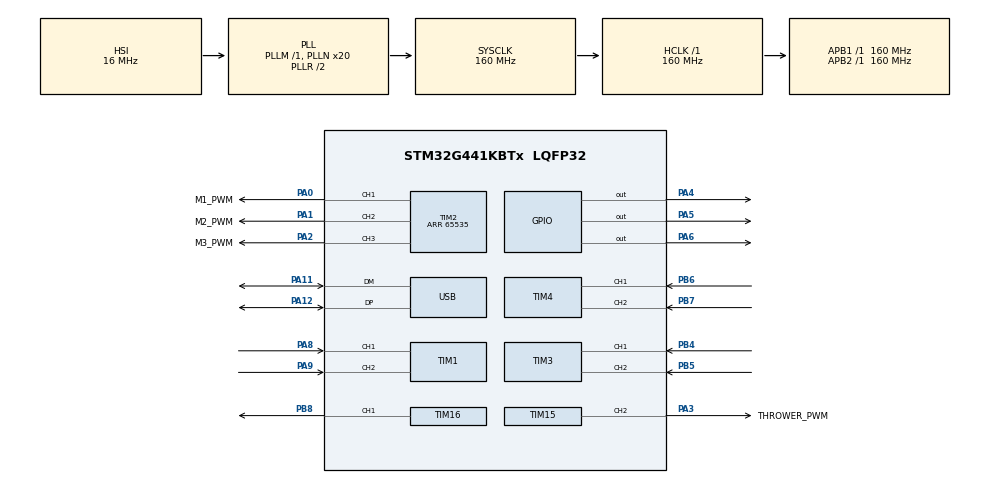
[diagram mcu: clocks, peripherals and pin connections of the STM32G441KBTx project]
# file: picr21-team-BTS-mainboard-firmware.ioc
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Mcu.Family=STM32G4
USB_DEVICE.CLASS_NAME_FS=CDC
RCC.CortexFreq_Value=160000000
TIM4.EncoderMode=TIM_ENCODERMODE_TI12
PA0.GPIO_Label=M1_PWM
TIM3.EncoderMode=TIM_ENCODERMODE_TI12
TIM1.EncoderMode=TIM_ENCODERMODE_TI12
PA11.Mode=Device
TIM2.Channel-PWM\ Generation2\ CH2=TIM_CHANNEL_2
RCC.SYSCLKSource=RCC_SYSCLKSOURCE_PLLCLK
ProjectManager.StackSize=0x400
SH.S_TIM15_CH2.0=TIM15_CH2,PWM Generation2 CH2
PA12.Signal=USB_DP
RCC.HCLKFreq_Value=160000000
RCC.APB2TimFreq_Value=160000000
PB6.Signal=S_TIM4_CH1
RCC.AHBFreq_Value=160000000
RCC.HSE_VALUE=8000000
RCC.ADC12Freq_Value=160000000
TIM2.PeriodNoDither=65535
TIM15.Channel-PWM\ Generation2\ CH2=TIM_CHANNEL_2
PA14.Mode=Serial_Wire
VP_SYS_VS_DBSignals.Mode=DisableDeadBatterySignals
SH.S_TIM4_CH2.0=TIM4_CH2,Encoder_Interface
PB7.Signal=S_TIM4_CH2
PA8.Signal=S_TIM1_CH1
TIM2.Channel-PWM\ Generation1\ CH1=TIM_CHANNEL_1
SH.S_TIM3_CH1.0=TIM3_CH1,Encoder_Interface
PA0.Signal=S_TIM2_CH1
Mcu.Package=LQFP32
PA6.Signal=GPIO_Output
PA2.GPIO_Label=M3_PWM
NVIC.USB_LP_IRQn=true\:0\:0\:false\:false\:true\:false\:true
SH.S_TIM4_CH1.0=TIM4_CH1,Encoder_Interface
RCC.APB1TimFreq_Value=160000000
RCC.CK48CLockSelection=RCC_USBCLKSOURCE_HSI48
RCC.HSI48_VALUE=48000000
PB4.Signal=S_TIM3_CH1
PA3.Signal=S_TIM15_CH2
SH.S_TIM2_CH1.0=TIM2_CH1,PWM Generation1 CH1
USB_DEVICE.VirtualModeFS=Cdc_FS
RCC.EXTERNAL_CLOCK_VALUE=12288000
SH.S_TIM16_CH1.0=TIM16_CH1,PWM Generation1 CH1
VP_TIM16_VS_ClockSourceINT.Mode=Enable_Timer
TIM16.Channel=TIM_CHANNEL_1
PA13.Signal=SYS_JTMS-SWDIO
SH.S_TIM2_CH2.0=TIM2_CH2,PWM Generation2 CH2
SH.S_TIM1_CH1.0=TIM1_CH1,Encoder_Interface
ProjectManager.TargetToolchain=STM32CubeIDE
VP_USB_DEVICE_VS_USB_DEVICE_CDC_FS.Mode=CDC_FS
PA9.Signal=S_TIM1_CH2
RCC.USBFreq_Value=48000000
RCC.LSE_VALUE=32768
PA1.Signal=S_TIM2_CH2
PA5.Signal=GPIO_Output
SH.S_TIM3_CH2.0=TIM3_CH2,Encoder_Interface
PB8-BOOT0.Signal=S_TIM16_CH1
board=custom
RCC.VCOOutputFreq_Value=320000000
RCC.APB2Freq_Value=160000000
SH.S_TIM1_CH2.0=TIM1_CH2,Encoder_Interface
SH.S_TIM2_CH3.0=TIM2_CH3,PWM Generation3 CH3
PA1.GPIO_Label=M2_PWM
TIM2.Channel-PWM\ Generation3\ CH3=TIM_CHANNEL_3
PA13.Mode=Serial_Wire
Mcu.Name=STM32G441KBTx
PA2.Signal=S_TIM2_CH3
PA4.Signal=GPIO_Output
RCC.SYSCLKFreq_VALUE=160000000
PB5.Signal=S_TIM3_CH2
PA12.Mode=Device
PA11.Signal=USB_DM
PA14.Signal=SYS_JTCK-SWCLK
ProjectManager.HeapSize=0x200
RCC.HSI_VALUE=16000000
NVIC.PriorityGroup=NVIC_PRIORITYGROUP_4
RCC.PLLN=20
RCC.APB1Freq_Value=160000000
USB_DEVICE.VirtualMode=Cdc
PA3.GPIO_Label=THROWER_PWM

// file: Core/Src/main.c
/* USER CODE BEGIN Header */
/**
  ******************************************************************************
  * @file           : main.c
  * @brief          : Main program body
  ******************************************************************************
  * @attention
  *
  * <h2><center>&copy; Copyright (c) 2021 STMicroelectronics.
  * All rights reserved.</center></h2>
  *
  * This software component is licensed by ST under BSD 3-Clause license,
  * the "License"; You may not use this file except in compliance with the
  * License. You may obtain a copy of the License at:
  *                        opensource.org/licenses/BSD-3-Clause
  *
  ******************************************************************************
  */
/* USER CODE END Header */
#include "main.h"
#include "usb_device.h"

/* USER CODE BEGIN Includes */
#include "usbd_cdc_if.h"
/* USER CODE END Includes */

TIM_HandleTypeDef htim1;
TIM_HandleTypeDef htim2;
TIM_HandleTypeDef htim3;
TIM_HandleTypeDef htim4;
TIM_HandleTypeDef htim15;
TIM_HandleTypeDef htim16;

void SystemClock_Config(void);
static void MX_GPIO_Init(void);
static void MX_TIM1_Init(void);
static void MX_TIM2_Init(void);
static void MX_TIM3_Init(void);
static void MX_TIM4_Init(void);
static void MX_TIM15_Init(void);
static void MX_TIM16_Init(void);

/* USER CODE BEGIN 0 */
typedef struct Command { // (1)
  int16_t speed1;
  int16_t speed2;
  int16_t speed3;
  uint16_t throwerSpeed;
  uint16_t delimiter; // (2)
} Command;

typedef struct Feedback { // (3)
  int16_t speed1;
  int16_t speed2;
  int16_t speed3;
  uint16_t delimiter;
} Feedback;

Command command = {.speed1 = 0, .speed2 = 0, .speed3 = 0, .throwerSpeed = 0, .delimiter = 0}; // (4)
volatile uint8_t isCommandReceived = 0; // (5)

void CDC_On_Receive(uint8_t* buffer, uint32_t* length) { // (6)
  if (*length == sizeof(Command)) { // (7)
    memcpy(&command, buffer, sizeof(Command)); // (8)

    if (command.delimiter == 0xAAAA) { // (9)
      isCommandReceived = 1;
    }
  }
}
/* USER CODE END 0 */

int main(void)
{

  /* MCU Configuration--------------------------------------------------------*/

  /* Reset of all peripherals, Initializes the Flash interface and the Systick. */
  HAL_Init();

  /* Configure the system clock */
  SystemClock_Config();

  /* Initialize all configured peripherals */
  MX_GPIO_Init();
  MX_TIM1_Init();
  MX_TIM2_Init();
  MX_TIM3_Init();
  MX_TIM4_Init();
  MX_TIM15_Init();
  MX_USB_Device_Init();
  MX_TIM16_Init();
  /* USER CODE BEGIN 2 */
  Feedback feedback = { // (1)
        .speed1 = 0,
        .speed2 = 0,
        .speed3 = 0,
        .delimiter = 0xAAAA
    };

  /* USER CODE END 2 */

  /* Infinite loop */
  while (1)
  {

    /* USER CODE BEGIN 3 */
	  if (isCommandReceived) { // (2)
	        isCommandReceived = 0;
	        HAL_GPIO_TogglePin(LED_GPIO_Port, LED_Pin); // (3)

	        feedback.speed1 = motor1Control.speed; // (4)
	        feedback.speed2 = motor2Control.speed;
	        feedback.speed3 = motor3Control.speed;

	        CDC_Transmit_FS(&feedback, sizeof(feedback)); // (5)
	      }
	    }
  /* USER CODE END 3 */
}

void SystemClock_Config(void)
{
  RCC_OscInitTypeDef RCC_OscInitStruct = {0};
  RCC_ClkInitTypeDef RCC_ClkInitStruct = {0};
  RCC_PeriphCLKInitTypeDef PeriphClkInit = {0};

  /** Configure the main internal regulator output voltage
  */
  HAL_PWREx_ControlVoltageScaling(PWR_REGULATOR_VOLTAGE_SCALE1_BOOST);
  /** Initializes the RCC Oscillators according to the specified parameters
  * in the RCC_OscInitTypeDef structure.
  */
  RCC_OscInitStruct.OscillatorType = RCC_OSCILLATORTYPE_HSI|RCC_OSCILLATORTYPE_HSI48;
  RCC_OscInitStruct.HSIState = RCC_HSI_ON;
  RCC_OscInitStruct.HSICalibrationValue = RCC_HSICALIBRATION_DEFAULT;
  RCC_OscInitStruct.HSI48State = RCC_HSI48_ON;
  RCC_OscInitStruct.PLL.PLLState = RCC_PLL_ON;
  RCC_OscInitStruct.PLL.PLLSource = RCC_PLLSOURCE_HSI;
  RCC_OscInitStruct.PLL.PLLM = RCC_PLLM_DIV1;
  RCC_OscInitStruct.PLL.PLLN = 20;
  RCC_OscInitStruct.PLL.PLLP = RCC_PLLP_DIV2;
  RCC_OscInitStruct.PLL.PLLQ = RCC_PLLQ_DIV2;
  RCC_OscInitStruct.PLL.PLLR = RCC_PLLR_DIV2;
  if (HAL_RCC_OscConfig(&RCC_OscInitStruct) != HAL_OK)
  {
    Error_Handler();
  }
  /** Initializes the CPU, AHB and APB buses clocks
  */
  RCC_ClkInitStruct.ClockType = RCC_CLOCKTYPE_HCLK|RCC_CLOCKTYPE_SYSCLK
                              |RCC_CLOCKTYPE_PCLK1|RCC_CLOCKTYPE_PCLK2;
  RCC_ClkInitStruct.SYSCLKSource = RCC_SYSCLKSOURCE_PLLCLK;
  RCC_ClkInitStruct.AHBCLKDivider = RCC_SYSCLK_DIV1;
  RCC_ClkInitStruct.APB1CLKDivider = RCC_HCLK_DIV1;
  RCC_ClkInitStruct.APB2CLKDivider = RCC_HCLK_DIV1;

  if (HAL_RCC_ClockConfig(&RCC_ClkInitStruct, FLASH_LATENCY_4) != HAL_OK)
  {
    Error_Handler();
  }
  /** Initializes the peripherals clocks
  */
  PeriphClkInit.PeriphClockSelection = RCC_PERIPHCLK_USB;
  PeriphClkInit.UsbClockSelection = RCC_USBCLKSOURCE_HSI48;
  if (HAL_RCCEx_PeriphCLKConfig(&PeriphClkInit) != HAL_OK)
  {
    Error_Handler();
  }
}

static void MX_TIM1_Init(void)
{

  TIM_Encoder_InitTypeDef sConfig = {0};
  TIM_MasterConfigTypeDef sMasterConfig = {0};

  htim1.Instance = TIM1;
  htim1.Init.Prescaler = 0;
  htim1.Init.CounterMode = TIM_COUNTERMODE_UP;
  htim1.Init.Period = 65535;
  htim1.Init.ClockDivision = TIM_CLOCKDIVISION_DIV1;
  htim1.Init.RepetitionCounter = 0;
  htim1.Init.AutoReloadPreload = TIM_AUTORELOAD_PRELOAD_DISABLE;
  sConfig.EncoderMode = TIM_ENCODERMODE_TI12;
  sConfig.IC1Polarity = TIM_ICPOLARITY_RISING;
  sConfig.IC1Selection = TIM_ICSELECTION_DIRECTTI;
  sConfig.IC1Prescaler = TIM_ICPSC_DIV1;
  sConfig.IC1Filter = 0;
  sConfig.IC2Polarity = TIM_ICPOLARITY_RISING;
  sConfig.IC2Selection = TIM_ICSELECTION_DIRECTTI;
  sConfig.IC2Prescaler = TIM_ICPSC_DIV1;
  sConfig.IC2Filter = 0;
  if (HAL_TIM_Encoder_Init(&htim1, &sConfig) != HAL_OK)
  {
    Error_Handler();
  }
  sMasterConfig.MasterOutputTrigger = TIM_TRGO_RESET;
  sMasterConfig.MasterOutputTrigger2 = TIM_TRGO2_RESET;
  sMasterConfig.MasterSlaveMode = TIM_MASTERSLAVEMODE_DISABLE;
  if (HAL_TIMEx_MasterConfigSynchronization(&htim1, &sMasterConfig) != HAL_OK)
  {
    Error_Handler();
  }

}

static void MX_TIM2_Init(void)
{

  TIM_MasterConfigTypeDef sMasterConfig = {0};
  TIM_OC_InitTypeDef sConfigOC = {0};

  htim2.Instance = TIM2;
  htim2.Init.Prescaler = 0;
  htim2.Init.CounterMode = TIM_COUNTERMODE_UP;
  htim2.Init.Period = 65535;
  htim2.Init.ClockDivision = TIM_CLOCKDIVISION_DIV1;
  htim2.Init.AutoReloadPreload = TIM_AUTORELOAD_PRELOAD_DISABLE;
  if (HAL_TIM_PWM_Init(&htim2) != HAL_OK)
  {
    Error_Handler();
  }
  sMasterConfig.MasterOutputTrigger = TIM_TRGO_RESET;
  sMasterConfig.MasterSlaveMode = TIM_MASTERSLAVEMODE_DISABLE;
  if (HAL_TIMEx_MasterConfigSynchronization(&htim2, &sMasterConfig) != HAL_OK)
  {
    Error_Handler();
  }
  sConfigOC.OCMode = TIM_OCMODE_PWM1;
  sConfigOC.Pulse = 0;
  sConfigOC.OCPolarity = TIM_OCPOLARITY_HIGH;
  sConfigOC.OCFastMode = TIM_OCFAST_DISABLE;
  if (HAL_TIM_PWM_ConfigChannel(&htim2, &sConfigOC, TIM_CHANNEL_1) != HAL_OK)
  {
    Error_Handler();
  }
  if (HAL_TIM_PWM_ConfigChannel(&htim2, &sConfigOC, TIM_CHANNEL_2) != HAL_OK)
  {
    Error_Handler();
  }
  if (HAL_TIM_PWM_ConfigChannel(&htim2, &sConfigOC, TIM_CHANNEL_3) != HAL_OK)
  {
    Error_Handler();
  }
  HAL_TIM_MspPostInit(&htim2);

}

static void MX_TIM3_Init(void)
{

  TIM_Encoder_InitTypeDef sConfig = {0};
  TIM_MasterConfigTypeDef sMasterConfig = {0};

  htim3.Instance = TIM3;
  htim3.Init.Prescaler = 0;
  htim3.Init.CounterMode = TIM_COUNTERMODE_UP;
  htim3.Init.Period = 65535;
  htim3.Init.ClockDivision = TIM_CLOCKDIVISION_DIV1;
  htim3.Init.AutoReloadPreload = TIM_AUTORELOAD_PRELOAD_DISABLE;
  sConfig.EncoderMode = TIM_ENCODERMODE_TI12;
  sConfig.IC1Polarity = TIM_ICPOLARITY_RISING;
  sConfig.IC1Selection = TIM_ICSELECTION_DIRECTTI;
  sConfig.IC1Prescaler = TIM_ICPSC_DIV1;
  sConfig.IC1Filter = 0;
  sConfig.IC2Polarity = TIM_ICPOLARITY_RISING;
  sConfig.IC2Selection = TIM_ICSELECTION_DIRECTTI;
  sConfig.IC2Prescaler = TIM_ICPSC_DIV1;
  sConfig.IC2Filter = 0;
  if (HAL_TIM_Encoder_Init(&htim3, &sConfig) != HAL_OK)
  {
    Error_Handler();
  }
  sMasterConfig.MasterOutputTrigger = TIM_TRGO_RESET;
  sMasterConfig.MasterSlaveMode = TIM_MASTERSLAVEMODE_DISABLE;
  if (HAL_TIMEx_MasterConfigSynchronization(&htim3, &sMasterConfig) != HAL_OK)
  {
    Error_Handler();
  }

}

static void MX_TIM4_Init(void)
{

  TIM_Encoder_InitTypeDef sConfig = {0};
  TIM_MasterConfigTypeDef sMasterConfig = {0};

  htim4.Instance = TIM4;
  htim4.Init.Prescaler = 0;
  htim4.Init.CounterMode = TIM_COUNTERMODE_UP;
  htim4.Init.Period = 65535;
  htim4.Init.ClockDivision = TIM_CLOCKDIVISION_DIV1;
  htim4.Init.AutoReloadPreload = TIM_AUTORELOAD_PRELOAD_DISABLE;
  sConfig.EncoderMode = TIM_ENCODERMODE_TI12;
  sConfig.IC1Polarity = TIM_ICPOLARITY_RISING;
  sConfig.IC1Selection = TIM_ICSELECTION_DIRECTTI;
  sConfig.IC1Prescaler = TIM_ICPSC_DIV1;
  sConfig.IC1Filter = 0;
  sConfig.IC2Polarity = TIM_ICPOLARITY_RISING;
  sConfig.IC2Selection = TIM_ICSELECTION_DIRECTTI;
  sConfig.IC2Prescaler = TIM_ICPSC_DIV1;
  sConfig.IC2Filter = 0;
  if (HAL_TIM_Encoder_Init(&htim4, &sConfig) != HAL_OK)
  {
    Error_Handler();
  }
  sMasterConfig.MasterOutputTrigger = TIM_TRGO_RESET;
  sMasterConfig.MasterSlaveMode = TIM_MASTERSLAVEMODE_DISABLE;
  if (HAL_TIMEx_MasterConfigSynchronization(&htim4, &sMasterConfig) != HAL_OK)
  {
    Error_Handler();
  }

}

static void MX_TIM15_Init(void)
{

  TIM_MasterConfigTypeDef sMasterConfig = {0};
  TIM_OC_InitTypeDef sConfigOC = {0};
  TIM_BreakDeadTimeConfigTypeDef sBreakDeadTimeConfig = {0};

  htim15.Instance = TIM15;
  htim15.Init.Prescaler = 0;
  htim15.Init.CounterMode = TIM_COUNTERMODE_UP;
  htim15.Init.Period = 65535;
  htim15.Init.ClockDivision = TIM_CLOCKDIVISION_DIV1;
  htim15.Init.RepetitionCounter = 0;
  htim15.Init.AutoReloadPreload = TIM_AUTORELOAD_PRELOAD_DISABLE;
  if (HAL_TIM_PWM_Init(&htim15) != HAL_OK)
  {
    Error_Handler();
  }
  sMasterConfig.MasterOutputTrigger = TIM_TRGO_RESET;
  sMasterConfig.MasterSlaveMode = TIM_MASTERSLAVEMODE_DISABLE;
  if (HAL_TIMEx_MasterConfigSynchronization(&htim15, &sMasterConfig) != HAL_OK)
  {
    Error_Handler();
  }
  sConfigOC.OCMode = TIM_OCMODE_PWM1;
  sConfigOC.Pulse = 0;
  sConfigOC.OCPolarity = TIM_OCPOLARITY_HIGH;
  sConfigOC.OCNPolarity = TIM_OCNPOLARITY_HIGH;
  sConfigOC.OCFastMode = TIM_OCFAST_DISABLE;
  sConfigOC.OCIdleState = TIM_OCIDLESTATE_RESET;
  sConfigOC.OCNIdleState = TIM_OCNIDLESTATE_RESET;
  if (HAL_TIM_PWM_ConfigChannel(&htim15, &sConfigOC, TIM_CHANNEL_2) != HAL_OK)
  {
    Error_Handler();
  }
  sBreakDeadTimeConfig.OffStateRunMode = TIM_OSSR_DISABLE;
  sBreakDeadTimeConfig.OffStateIDLEMode = TIM_OSSI_DISABLE;
  sBreakDeadTimeConfig.LockLevel = TIM_LOCKLEVEL_OFF;
  sBreakDeadTimeConfig.DeadTime = 0;
  sBreakDeadTimeConfig.BreakState = TIM_BREAK_DISABLE;
  sBreakDeadTimeConfig.BreakPolarity = TIM_BREAKPOLARITY_HIGH;
  sBreakDeadTimeConfig.BreakFilter = 0;
  sBreakDeadTimeConfig.AutomaticOutput = TIM_AUTOMATICOUTPUT_DISABLE;
  if (HAL_TIMEx_ConfigBreakDeadTime(&htim15, &sBreakDeadTimeConfig) != HAL_OK)
  {
    Error_Handler();
  }
  HAL_TIM_MspPostInit(&htim15);

}

static void MX_TIM16_Init(void)
{

  TIM_OC_InitTypeDef sConfigOC = {0};
  TIM_BreakDeadTimeConfigTypeDef sBreakDeadTimeConfig = {0};

  htim16.Instance = TIM16;
  htim16.Init.Prescaler = 0;
  htim16.Init.CounterMode = TIM_COUNTERMODE_UP;
  htim16.Init.Period = 65535;
  htim16.Init.ClockDivision = TIM_CLOCKDIVISION_DIV1;
  htim16.Init.RepetitionCounter = 0;
  htim16.Init.AutoReloadPreload = TIM_AUTORELOAD_PRELOAD_DISABLE;
  if (HAL_TIM_Base_Init(&htim16) != HAL_OK)
  {
    Error_Handler();
  }
  if (HAL_TIM_PWM_Init(&htim16) != HAL_OK)
  {
    Error_Handler();
  }
  sConfigOC.OCMode = TIM_OCMODE_PWM1;
  sConfigOC.Pulse = 0;
  sConfigOC.OCPolarity = TIM_OCPOLARITY_HIGH;
  sConfigOC.OCNPolarity = TIM_OCNPOLARITY_HIGH;
  sConfigOC.OCFastMode = TIM_OCFAST_DISABLE;
  sConfigOC.OCIdleState = TIM_OCIDLESTATE_RESET;
  sConfigOC.OCNIdleState = TIM_OCNIDLESTATE_RESET;
  if (HAL_TIM_PWM_ConfigChannel(&htim16, &sConfigOC, TIM_CHANNEL_1) != HAL_OK)
  {
    Error_Handler();
  }
  sBreakDeadTimeConfig.OffStateRunMode = TIM_OSSR_DISABLE;
  sBreakDeadTimeConfig.OffStateIDLEMode = TIM_OSSI_DISABLE;
  sBreakDeadTimeConfig.LockLevel = TIM_LOCKLEVEL_OFF;
  sBreakDeadTimeConfig.DeadTime = 0;
  sBreakDeadTimeConfig.BreakState = TIM_BREAK_DISABLE;
  sBreakDeadTimeConfig.BreakPolarity = TIM_BREAKPOLARITY_HIGH;
  sBreakDeadTimeConfig.BreakFilter = 0;
  sBreakDeadTimeConfig.AutomaticOutput = TIM_AUTOMATICOUTPUT_DISABLE;
  if (HAL_TIMEx_ConfigBreakDeadTime(&htim16, &sBreakDeadTimeConfig) != HAL_OK)
  {
    Error_Handler();
  }
  HAL_TIM_MspPostInit(&htim16);

}

static void MX_GPIO_Init(void)
{
  GPIO_InitTypeDef GPIO_InitStruct = {0};

  /* GPIO Ports Clock Enable */
  __HAL_RCC_GPIOA_CLK_ENABLE();
  __HAL_RCC_GPIOB_CLK_ENABLE();

  /*Configure GPIO pin Output Level */
  HAL_GPIO_WritePin(GPIOA, GPIO_PIN_4|GPIO_PIN_5|GPIO_PIN_6, GPIO_PIN_RESET);

  /*Configure GPIO pins : PA4 PA5 PA6 */
  GPIO_InitStruct.Pin = GPIO_PIN_4|GPIO_PIN_5|GPIO_PIN_6;
  GPIO_InitStruct.Mode = GPIO_MODE_OUTPUT_PP;
  GPIO_InitStruct.Pull = GPIO_NOPULL;
  GPIO_InitStruct.Speed = GPIO_SPEED_FREQ_LOW;
  HAL_GPIO_Init(GPIOA, &GPIO_InitStruct);

}

void Error_Handler(void)
{
  __disable_irq();
  while (1)
  {
  }
}

/************************ (C) COPYRIGHT STMicroelectronics *****END OF FILE****/
